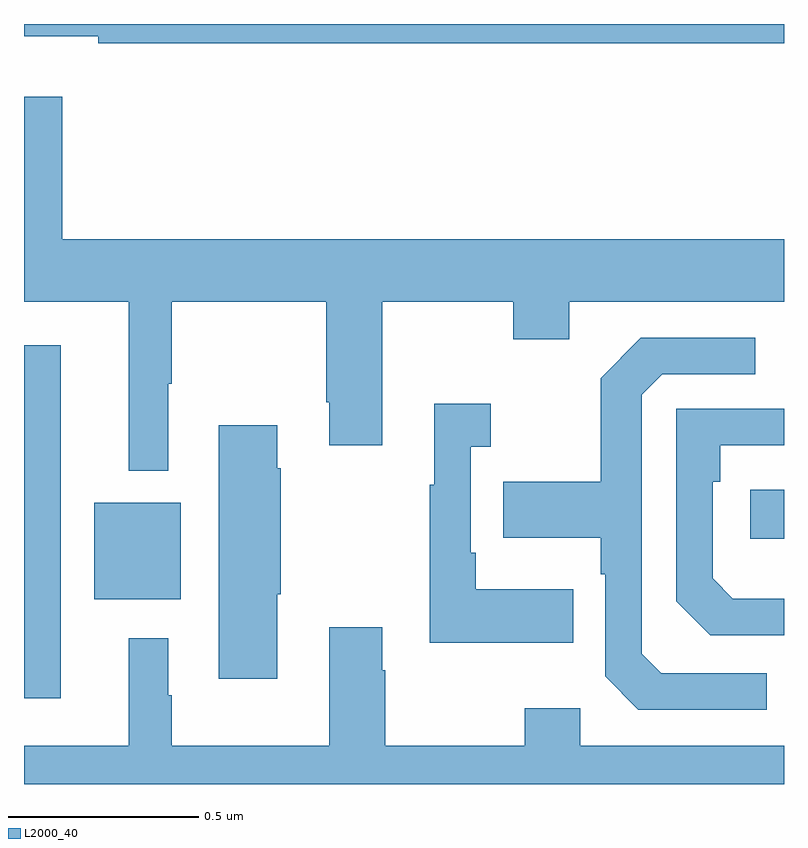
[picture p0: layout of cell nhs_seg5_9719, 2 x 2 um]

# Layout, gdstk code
import gdstk
lib = gdstk.Library(unit=1e-6, precision=1e-09)
def R(c, l, rs):  # rectangles x0, y0, x1, y1
    for r in rs: c.add(gdstk.rectangle(r[:2], r[2:], *l))
def P(c, l, *ps):  # polygons
    for p in ps: c.add(gdstk.Polygon(p, *l))
L2000_40 = (2000, 40)

nhs_seg5_9719 = lib.new_cell('nhs_seg5_9719')
R(nhs_seg5_9719, L2000_40, [(237,881.025,237.097,881.953), (237.185,881.285,237.412,881.539), (238.911,881.444,239,881.574)])
P(nhs_seg5_9719, L2000_40, [(239,882.799),(237,882.799),(237,882.767),(237.196,882.767),(237.196,882.748),(239,882.748)],
  [(237.379,881.852),(237.389,881.852),(237.389,882.068),(237.796,882.068),(237.796,881.803),(237.803,881.803),(237.803,881.691),(237.943,881.691),(237.943,882.068),(238.288,882.068),(238.288,881.969),(238.435,881.969),(238.435,882.068),(239,882.068),(239,882.232),(237.1,882.232),(237.1,882.607),(237,882.607),(237,882.068),(237.275,882.068),(237.275,881.624),(237.379,881.624)],
  [(238.954,881.091),(238.677,881.091),(238.626,881.142),(238.626,881.823),(238.68,881.877),(238.924,881.877),(238.924,881.973),(238.623,881.973),(238.518,881.867),(238.518,881.595),(238.261,881.595),(238.261,881.447),(238.518,881.447),(238.518,881.351),(238.53,881.351),(238.53,881.082),(238.617,880.995),(238.954,880.995)],
  [(238.445,881.311),(238.189,881.311),(238.189,881.407),(238.176,881.407),(238.176,881.687),(238.228,881.687),(238.228,881.8),(238.079,881.8),(238.079,881.587),(238.068,881.587),(238.068,881.171),(238.445,881.171)],
  [(239,881.287),(238.865,881.287),(238.812,881.34),(238.812,881.594),(238.832,881.594),(238.832,881.691),(239,881.691),(239,881.787),(238.716,881.787),(238.716,881.28),(238.806,881.19),(239,881.19)],
  [(237.667,881.299),(237.675,881.299),(237.675,881.63),(237.667,881.63),(237.667,881.743),(237.512,881.743),(237.512,881.076),(237.667,881.076)],
  [(239,880.9),(238.464,880.9),(238.464,880.999),(238.318,880.999),(238.318,880.9),(237.951,880.9),(237.951,881.099),(237.943,881.099),(237.943,881.212),(237.803,881.212),(237.803,880.9),(237.389,880.9),(237.389,881.033),(237.379,881.033),(237.379,881.182),(237.275,881.182),(237.275,880.9),(237,880.9),(237,880.799),(239,880.799)])

lib.write_gds('nhs_seg5_9719.gds')
